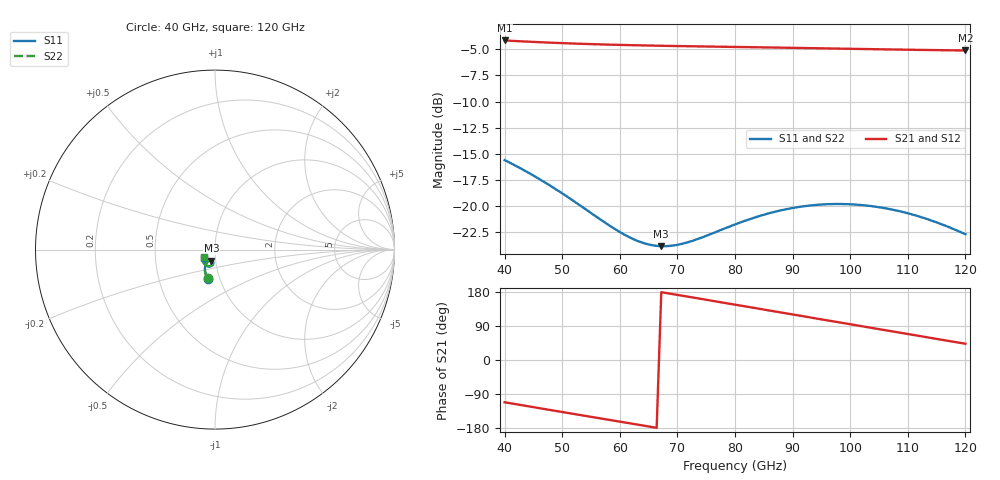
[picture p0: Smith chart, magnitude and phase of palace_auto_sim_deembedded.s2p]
! Created with skrf 1.11.0 (http://scikit-rf.org).
# GHz S DB R 50.0
!freq dBS11 angS11 dBS21 angS21 dBS12 angS12 dBS22 angS22
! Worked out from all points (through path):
!   101 points, 40 GHz to 120 GHz, reference 50 ohm
!   highest |S21| = -4.15 dB at 40 GHz (marker M1); lowest = -5.1 dB at 120 GHz (marker M2)
!   group delay of S21, straight-line fit = 7.14 ps
!   lowest |S11| = -23.8 dB at 67.2 GHz (marker M3), VSWR 1.14, Z = 47.7 - j5.87 ohm
!   |S11| at or under -10 dB: start of sweep to end of sweep
!   |S22| runs from -24.0 to -15.7 dB; largest |S21 - S12| = 6.8e-14
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40  -15.60 -103.8  -4.15 -111.6  -4.15 -111.6  -15.67 -104.1
43.2  -16.52 -109.7  -4.24 -119.8  -4.24 -119.8  -16.60 -110.1
47.2  -17.81 -115.9  -4.34 -130.1  -4.34 -130.1  -17.89 -116.3
53.6  -20.13 -121.7  -4.48 -146.4  -4.48 -146.4  -20.23 -122.2
57.6  -21.65 -121.6  -4.54 -156.5  -4.54 -156.5  -21.75 -122.2
61.6  -22.97 -117.8  -4.60 -166.7  -4.60 -166.7  -23.07 -118.5
64.8  -23.65 -112.4  -4.63 -174.9  -4.63 -174.9  -23.76 -113.3
67.2  -23.84 -107.7  -4.66 179.0  -4.66 179.0  -23.96 -108.7
70.4  -23.67 -102.1  -4.69 170.8  -4.69 170.8  -23.80 -103.2
73.6  -23.14 -98.3  -4.72 162.5  -4.72 162.5  -23.28 -99.5
76.8  -22.46 -96.8  -4.75 154.3  -4.75 154.3  -22.61 -98.0
80  -21.76 -97.3  -4.77 146.0  -4.77 146.0  -21.92 -98.6
84  -21.00 -99.9  -4.81 135.7  -4.81 135.7  -21.16 -101.3
87.2  -20.51 -103.2  -4.83 127.4  -4.83 127.4  -20.67 -104.7
90.4  -20.15 -107.2  -4.86 119.2  -4.86 119.2  -20.31 -108.7
93.6  -19.92 -111.6  -4.89 110.9  -4.89 110.9  -20.08 -113.2
96.8  -19.81 -116.3  -4.92 102.6  -4.92 102.6  -19.97 -118.0
100  -19.83 -121.0  -4.95 94.4  -4.95 94.4  -19.98 -122.8
103.2  -19.98 -125.7  -4.98 86.1  -4.98 86.1  -20.12 -127.6
107.2  -20.33 -131.2  -5.01 75.8  -5.01 75.8  -20.46 -133.3
113.6  -21.29 -138.7  -5.07 59.3  -5.07 59.3  -21.37 -141.0
120  -22.70 -143.0  -5.11 42.9  -5.11 42.9  -22.71 -145.8
